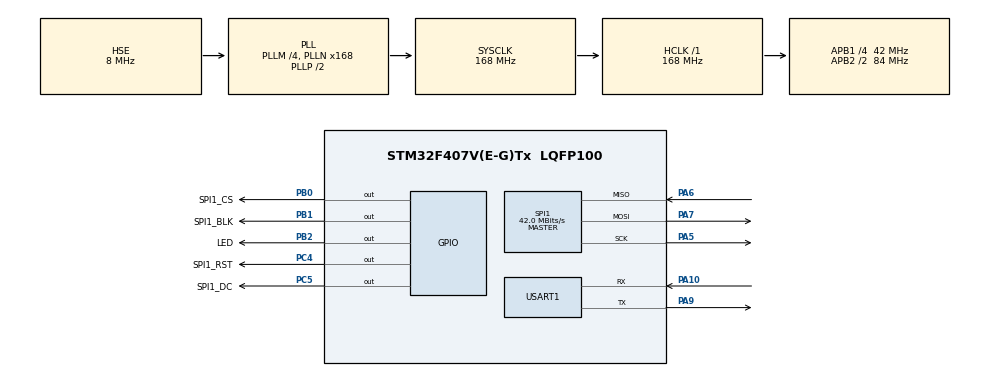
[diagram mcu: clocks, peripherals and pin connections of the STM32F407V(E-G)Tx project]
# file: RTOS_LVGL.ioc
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Dma.Request0=SPI1_TX
Dma.SPI1_TX.0.Direction=DMA_MEMORY_TO_PERIPH
Dma.SPI1_TX.0.FIFOMode=DMA_FIFOMODE_DISABLE
Dma.SPI1_TX.0.Instance=DMA2_Stream3
Dma.SPI1_TX.0.MemDataAlignment=DMA_MDATAALIGN_BYTE
Dma.SPI1_TX.0.MemInc=DMA_MINC_ENABLE
Dma.SPI1_TX.0.Mode=DMA_NORMAL
Dma.SPI1_TX.0.PeriphDataAlignment=DMA_PDATAALIGN_BYTE
Dma.SPI1_TX.0.PeriphInc=DMA_PINC_DISABLE
Dma.SPI1_TX.0.Priority=DMA_PRIORITY_LOW
FREERTOS.Tasks01=LVGL_TASK,24,128,LVGL_Task,Default,NULL,Dynamic,NULL,NULL
Mcu.Family=STM32F4
Mcu.Name=STM32F407V(E-G)Tx
Mcu.Package=LQFP100
NVIC.DMA2_Stream3_IRQn=true\:5\:0\:false\:false\:true\:true\:false\:true\:true
NVIC.PriorityGroup=NVIC_PRIORITYGROUP_4
NVIC.SPI1_IRQn=true\:5\:0\:false\:false\:true\:true\:true\:true\:true
NVIC.TIM8_TRG_COM_TIM14_IRQn=true\:15\:0\:false\:false\:true\:false\:false\:true\:true
NVIC.TimeBase=TIM8_TRG_COM_TIM14_IRQn
NVIC.TimeBaseIP=TIM14
NVIC.USART1_IRQn=true\:5\:0\:false\:false\:true\:true\:true\:true\:true
PA10.Mode=Asynchronous
PA10.Signal=USART1_RX
PA13.Mode=Serial_Wire
PA13.Signal=SYS_JTMS-SWDIO
PA14.Mode=Serial_Wire
PA14.Signal=SYS_JTCK-SWCLK
PA5.Mode=Full_Duplex_Master
PA5.Signal=SPI1_SCK
PA6.Mode=Full_Duplex_Master
PA6.Signal=SPI1_MISO
PA7.Mode=Full_Duplex_Master
PA7.Signal=SPI1_MOSI
PA9.Mode=Asynchronous
PA9.Signal=USART1_TX
PB0.GPIO_Label=SPI1_CS
PB0.Signal=GPIO_Output
PB1.GPIO_Label=SPI1_BLK
PB1.Signal=GPIO_Output
PB2.GPIO_Label=LED
PB2.Signal=GPIO_Output
PC4.GPIO_Label=SPI1_RST
PC4.Signal=GPIO_Output
PC5.GPIO_Label=SPI1_DC
PC5.Signal=GPIO_Output
PH0-OSC_IN.Mode=HSE-External-Oscillator
PH0-OSC_IN.Signal=RCC_OSC_IN
PH1-OSC_OUT.Mode=HSE-External-Oscillator
PH1-OSC_OUT.Signal=RCC_OSC_OUT
ProjectManager.HeapSize=0x200
ProjectManager.StackSize=0x400
ProjectManager.TargetToolchain=MDK-ARM V5.32
RCC.48MHZClocksFreq_Value=84000000
RCC.AHBFreq_Value=168000000
RCC.APB1CLKDivider=RCC_HCLK_DIV4
RCC.APB1Freq_Value=42000000
RCC.APB1TimFreq_Value=84000000
RCC.APB2CLKDivider=RCC_HCLK_DIV2
RCC.APB2Freq_Value=84000000
RCC.APB2TimFreq_Value=168000000
RCC.CortexFreq_Value=168000000
RCC.HCLKFreq_Value=168000000
RCC.HSE_VALUE=8000000
RCC.HSI_VALUE=16000000
RCC.LSE_VALUE=32768
RCC.PLLM=4
RCC.PLLN=168
RCC.PLLSourceVirtual=RCC_PLLSOURCE_HSE
RCC.SYSCLKFreq_VALUE=168000000
RCC.SYSCLKSource=RCC_SYSCLKSOURCE_PLLCLK
RCC.VCOOutputFreq_Value=336000000
SPI1.BaudRatePrescaler=SPI_BAUDRATEPRESCALER_2
SPI1.CalculateBaudRate=42.0 MBits/s
SPI1.Direction=SPI_DIRECTION_2LINES
SPI1.Mode=SPI_MODE_MASTER
SPI1.VirtualType=VM_MASTER
USART1.VirtualMode=VM_ASYNC
VP_FREERTOS_VS_CMSIS_V2.Mode=CMSIS_V2
VP_SYS_VS_tim14.Mode=TIM14
board=custom

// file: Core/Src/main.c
/* USER CODE BEGIN Header */
/**
  ******************************************************************************
  * @file           : main.c
  * @brief          : Main program body
  ******************************************************************************
  * @attention
  *
  * Copyright (c) 2025 STMicroelectronics.
  * All rights reserved.
  *
  * This software is licensed under terms that can be found in the LICENSE file
  * in the root directory of this software component.
  * If no LICENSE file comes with this software, it is provided AS-IS.
  *
  ******************************************************************************
  */
/* USER CODE END Header */
#include "main.h"
#include "cmsis_os.h"
#include "dma.h"
#include "spi.h"
#include "usart.h"
#include "gpio.h"

void SystemClock_Config(void);
void MX_FREERTOS_Init(void);

int main(void)
{

  /* MCU Configuration--------------------------------------------------------*/

  /* Reset of all peripherals, Initializes the Flash interface and the Systick. */
  HAL_Init();

  /* Configure the system clock */
  SystemClock_Config();

  /* Initialize all configured peripherals */
  MX_GPIO_Init();
  MX_DMA_Init();
  MX_SPI1_Init();
  MX_USART1_UART_Init();

  /* Init scheduler */
  osKernelInitialize();

  /* Call init function for freertos objects (in cmsis_os2.c) */
  MX_FREERTOS_Init();

  /* Start scheduler */
  osKernelStart();

  /* We should never get here as control is now taken by the scheduler */

  /* Infinite loop */
  while (1)
  {

  }
}

void SystemClock_Config(void)
{
  RCC_OscInitTypeDef RCC_OscInitStruct = {0};
  RCC_ClkInitTypeDef RCC_ClkInitStruct = {0};

  /** Configure the main internal regulator output voltage
  */
  __HAL_RCC_PWR_CLK_ENABLE();
  __HAL_PWR_VOLTAGESCALING_CONFIG(PWR_REGULATOR_VOLTAGE_SCALE1);

  /** Initializes the RCC Oscillators according to the specified parameters
  * in the RCC_OscInitTypeDef structure.
  */
  RCC_OscInitStruct.OscillatorType = RCC_OSCILLATORTYPE_HSE;
  RCC_OscInitStruct.HSEState = RCC_HSE_ON;
  RCC_OscInitStruct.PLL.PLLState = RCC_PLL_ON;
  RCC_OscInitStruct.PLL.PLLSource = RCC_PLLSOURCE_HSE;
  RCC_OscInitStruct.PLL.PLLM = 4;
  RCC_OscInitStruct.PLL.PLLN = 168;
  RCC_OscInitStruct.PLL.PLLP = RCC_PLLP_DIV2;
  RCC_OscInitStruct.PLL.PLLQ = 4;
  if (HAL_RCC_OscConfig(&RCC_OscInitStruct) != HAL_OK)
  {
    Error_Handler();
  }

  /** Initializes the CPU, AHB and APB buses clocks
  */
  RCC_ClkInitStruct.ClockType = RCC_CLOCKTYPE_HCLK|RCC_CLOCKTYPE_SYSCLK
                              |RCC_CLOCKTYPE_PCLK1|RCC_CLOCKTYPE_PCLK2;
  RCC_ClkInitStruct.SYSCLKSource = RCC_SYSCLKSOURCE_PLLCLK;
  RCC_ClkInitStruct.AHBCLKDivider = RCC_SYSCLK_DIV1;
  RCC_ClkInitStruct.APB1CLKDivider = RCC_HCLK_DIV4;
  RCC_ClkInitStruct.APB2CLKDivider = RCC_HCLK_DIV2;

  if (HAL_RCC_ClockConfig(&RCC_ClkInitStruct, FLASH_LATENCY_5) != HAL_OK)
  {
    Error_Handler();
  }
}

void HAL_TIM_PeriodElapsedCallback(TIM_HandleTypeDef *htim)
{
  if (htim->Instance == TIM14) {
    HAL_IncTick();
  }
}

void Error_Handler(void)
{
  __disable_irq();
  while (1)
  {
  }
}

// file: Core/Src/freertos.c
/* USER CODE BEGIN Header */
/**
  ******************************************************************************
  * File Name          : freertos.c
  * Description        : Code for freertos applications
  ******************************************************************************
  * @attention
  *
  * Copyright (c) 2025 STMicroelectronics.
  * All rights reserved.
  *
  * This software is licensed under terms that can be found in the LICENSE file
  * in the root directory of this software component.
  * If no LICENSE file comes with this software, it is provided AS-IS.
  *
  ******************************************************************************
  */
/* USER CODE END Header */

#include "FreeRTOS.h"
#include "task.h"
#include "main.h"
#include "cmsis_os.h"

/* USER CODE BEGIN Includes */
#include "ili9341.h"
#include "usart.h"
/* USER CODE END Includes */

/* Definitions for LVGL_TASK */
osThreadId_t LVGL_TASKHandle;
const osThreadAttr_t LVGL_TASK_attributes = {
  .name = "LVGL_TASK",
  .stack_size = 128 * 4,
  .priority = (osPriority_t) osPriorityNormal,
};

void LVGL_Task(void *argument);

void MX_FREERTOS_Init(void); /* (MISRA C 2004 rule 8.1) */

void MX_FREERTOS_Init(void) {

  /* Create the thread(s) */
  /* creation of LVGL_TASK */
  LVGL_TASKHandle = osThreadNew(LVGL_Task, NULL, &LVGL_TASK_attributes);

}

/* USER CODE BEGIN Header_LVGL_Task */
void test_max_fps(void)
{
    uint32_t start_time, end_time;
    uint32_t frame_count = 0;
    uint16_t colors[] = {RED, GREEN, BLUE, YELLOW, MAGENTA, CYAN};
    uint8_t color_index = 0;

    start_time = HAL_GetTick();

    // 测试10秒内的帧数
    while((HAL_GetTick() - start_time) < 10000)
    {
        LCD_Clear(colors[color_index]);
        color_index = (color_index + 1) % 6;
        frame_count++;
        if(frame_count 	% 100 == 0)
        {
            // 每100帧打印一次
            uint32_t current_time = HAL_GetTick() - start_time;
            printf("FPS: %.1f\n", (float)frame_count * 1000 / current_time);
        }
    }

    printf("最终平均FPS: %.1f\n", (float)frame_count * 1000 / 10000);
}
/**
  * @brief  Function implementing the LVGL_TASK thread.
  * @param  argument: Not used
  * @retval None
  */
/* USER CODE END Header_LVGL_Task */

void LVGL_Task(void *argument)
{
  /* USER CODE BEGIN LVGL_Task */
  LCD_Init();
  // LCD_Fill_DMA_DoubleBuffer(0,0,LCD_W,LCD_H,WHITE);
  LCD_Clear(BLACK);
  // LCD_DrawFilledCircle(LCD_WIDTH / 2, LCD_HEIGHT / 2, 50, RED);
    printf("LVGL Task Running...\n");
  /* Infinite loop */
  for(;;)
  {
    // printf("LVGL Task Running...\n");
    // HAL_UART_Transmit(&huart1,(uint8_t*)"LVGL Task Running...\n",20,1000);
    // for (uint16_t i = 0; i < LCD_W; i++)
    // {
    //   LCD_ShowString_DMA(i,10,(uint8_t*)"test",RED,WHITE,16,0);
    //   osDelay(5);
    // }
    test_max_fps();
    // LCD_Fill_DMA_DoubleBuffer(0,0,LCD_W,LCD_H,WHITE);
    // osDelay(500);
    // LCD_Fill_DMA_DoubleBuffer(0,0,LCD_W,LCD_H,BLUE);
    // osDelay(500);
    // LCD_Fill_DMA_DoubleBuffer(0,0,LCD_W,LCD_H,GRED);
    // osDelay(500);
    // LCD_Fill_DMA_DoubleBuffer(0,0,LCD_W,LCD_H,RED);
    // osDelay(500);
    // LCD_Fill_DMA_DoubleBuffer(0,0,LCD_W,LCD_H,GREEN);
    osDelay(10000);
  }
  /* USER CODE END LVGL_Task */
}
